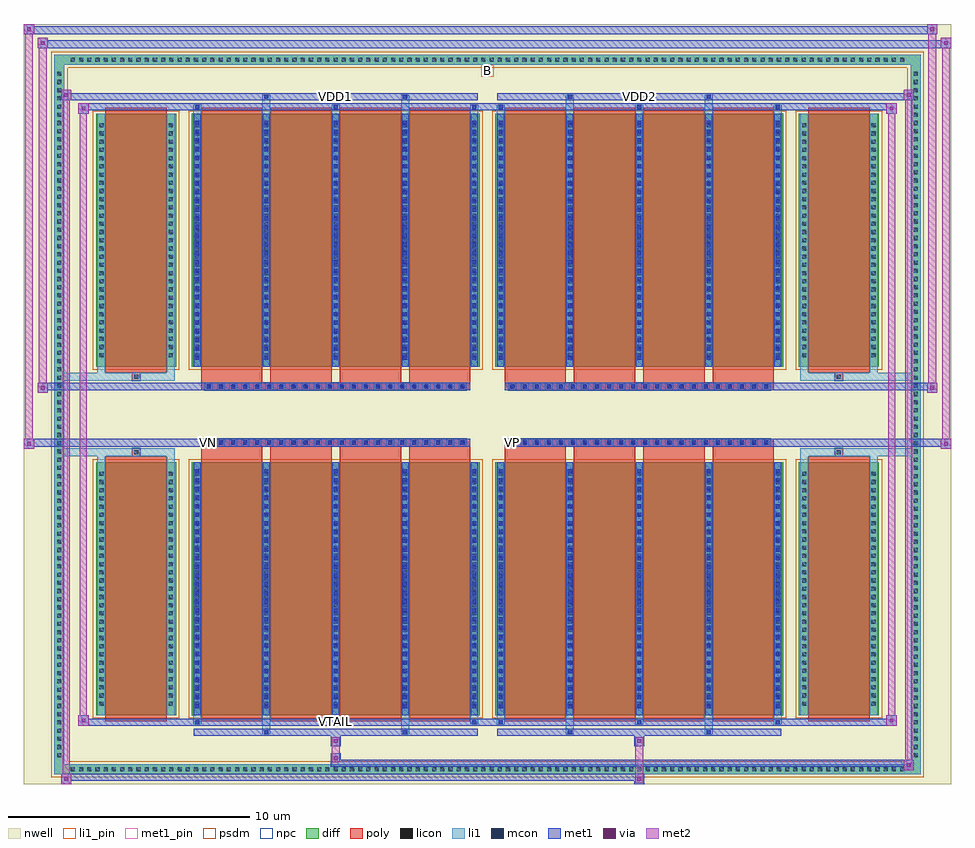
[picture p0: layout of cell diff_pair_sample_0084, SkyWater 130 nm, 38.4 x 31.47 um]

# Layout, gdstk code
import gdstk
lib = gdstk.Library(unit=1e-6, precision=5e-09)
def R(c, l, rs):  # rectangles x0, y0, x1, y1
    for r in rs: c.add(gdstk.rectangle(r[:2], r[2:], *l))
def A(c, l, x, y, w, h, nx, ny, dx, dy):  # array of equal rectangles
    R(c, l, [(x+i*dx, y+j*dy, x+i*dx+w, y+j*dy+h) for i in range(nx) for j in range(ny)])
def P(c, l, *ps):  # polygons
    for p in ps: c.add(gdstk.Polygon(p, *l))
nwell = (64, 20)
diff = (65, 20)
poly = (66, 20)
licon = (66, 44)
li1_pin = (67, 16)
li1 = (67, 20)
mcon = (67, 44)
met1_pin = (68, 16)
met1 = (68, 20)
via = (68, 44)
met2 = (69, 20)
psdm = (94, 20)
npc = (95, 20)

diff_pair_sample_0084 = lib.new_cell('diff_pair_sample_0084')
R(diff_pair_sample_0084, nwell, [(-19.2,-15.3,19.2,16.17), (-16.52,-13.49,-0.01,-0.795), (0.01,-13.49,16.52,-0.795), (-16.52,0.795,-0.01,13.49), (0.01,0.795,16.52,13.49)])
A(diff_pair_sample_0084, diff, -17.375, -14.9, 0.41, 0.41, 102, 2, 0.34, 29.39)
A(diff_pair_sample_0084, diff, -17.93, -14.315, 0.41, 0.41, 1, 84, 0, 0.34)
A(diff_pair_sample_0084, diff, 17.52, -14.315, 0.41, 0.41, 1, 84, 0, 0.34)
R(diff_pair_sample_0084, diff, [(-17.375,-14.9,17.375,-14.49), (-17.93,-14.315,-17.52,14.315), (17.52,-14.315,17.93,14.315), (-16.21,-12.445,-12.89,-1.985), (-12.25,-12.445,-0.32,-1.985), (0.32,-12.445,12.25,-1.985), (12.89,-12.445,16.21,-1.985), (-16.21,1.985,-12.89,12.445), (-12.25,1.985,-0.32,12.445), (0.32,1.985,12.25,12.445), (12.89,1.985,16.21,12.445), (-17.375,14.49,17.375,14.9)])
P(diff_pair_sample_0084, diff, [(17.93,14.9),(-17.93,14.9),(-17.93,-14.49),(-17.52,-14.49),(-17.52,14.49),(17.52,14.49),(17.52,-14.49),(-17.52,-14.49),(-17.93,-14.49),(-17.93,-14.9),(17.93,-14.9)])
A(diff_pair_sample_0084, poly, -11.86, -12.695, 2.54, 10.96, 4, 2, 2.87, 14.43)
A(diff_pair_sample_0084, poly, 0.71, -12.695, 2.54, 10.96, 4, 2, 2.87, 14.43)
A(diff_pair_sample_0084, poly, -11.86, -1.735, 2.54, 0.41, 4, 2, 2.87, 3.06)
A(diff_pair_sample_0084, poly, 0.71, -1.735, 2.54, 0.41, 4, 2, 2.87, 3.06)
A(diff_pair_sample_0084, poly, -11.7, -1.325, 0.33, 0.33, 22, 2, 0.5, 2.32)
A(diff_pair_sample_0084, poly, 0.87, -1.325, 0.33, 0.33, 22, 2, 0.5, 2.32)
R(diff_pair_sample_0084, poly, [(-15.82,-12.695,-13.28,-1.735), (13.28,-12.695,15.82,-1.735), (-14.715,-1.735,-14.385,-1.405), (-14.715,-1.735,-14.385,-1.405), (14.385,-1.735,14.715,-1.405), (14.385,-1.735,14.715,-1.405), (-11.86,-1.325,-0.71,-0.995), (0.71,-1.325,11.86,-0.995), (-11.86,0.995,-0.71,1.325), (0.71,0.995,11.86,1.325), (-14.715,1.405,-14.385,1.735), (-14.715,1.405,-14.385,1.735), (14.385,1.405,14.715,1.735), (14.385,1.405,14.715,1.735), (-15.82,1.735,-13.28,12.695), (13.28,1.735,15.82,12.695)])
A(diff_pair_sample_0084, licon, -17.255, -14.78, 0.17, 0.17, 102, 2, 0.34, 29.39)
A(diff_pair_sample_0084, licon, -17.81, -14.195, 0.17, 0.17, 1, 84, 0, 0.34)
A(diff_pair_sample_0084, licon, 17.64, -14.195, 0.17, 0.17, 1, 84, 0, 0.34)
A(diff_pair_sample_0084, licon, -16.07, -12.06, 0.17, 0.17, 1, 29, 0, 0.34)
A(diff_pair_sample_0084, licon, -13.2, -12.06, 0.17, 0.17, 1, 29, 0, 0.34)
A(diff_pair_sample_0084, licon, -12.11, -12.06, 0.17, 0.17, 5, 29, 2.87, 0.34)
A(diff_pair_sample_0084, licon, 0.46, -12.06, 0.17, 0.17, 5, 29, 2.87, 0.34)
A(diff_pair_sample_0084, licon, 13.03, -12.06, 0.17, 0.17, 1, 29, 0, 0.34)
A(diff_pair_sample_0084, licon, 15.9, -12.06, 0.17, 0.17, 1, 29, 0, 0.34)
A(diff_pair_sample_0084, licon, -11.62, -1.245, 0.17, 0.17, 22, 2, 0.5, 2.32)
A(diff_pair_sample_0084, licon, 0.95, -1.245, 0.17, 0.17, 22, 2, 0.5, 2.32)
A(diff_pair_sample_0084, licon, -16.07, 2.37, 0.17, 0.17, 1, 29, 0, 0.34)
A(diff_pair_sample_0084, licon, -13.2, 2.37, 0.17, 0.17, 1, 29, 0, 0.34)
A(diff_pair_sample_0084, licon, -12.11, 2.37, 0.17, 0.17, 5, 29, 2.87, 0.34)
A(diff_pair_sample_0084, licon, 0.46, 2.37, 0.17, 0.17, 5, 29, 2.87, 0.34)
A(diff_pair_sample_0084, licon, 13.03, 2.37, 0.17, 0.17, 1, 29, 0, 0.34)
A(diff_pair_sample_0084, licon, 15.9, 2.37, 0.17, 0.17, 1, 29, 0, 0.34)
R(diff_pair_sample_0084, licon, [(-14.635,-1.655,-14.465,-1.485), (14.465,-1.655,14.635,-1.485), (-14.635,1.485,-14.465,1.655), (14.465,1.485,14.635,1.655)])
R(diff_pair_sample_0084, li1_pin, [(-0.25,13.99,0.25,14.49)])
A(diff_pair_sample_0084, li1, -17.335, -14.86, 0.33, 0.33, 102, 2, 0.34, 29.39)
A(diff_pair_sample_0084, li1, -17.89, -14.275, 0.33, 0.33, 1, 84, 0, 0.34)
A(diff_pair_sample_0084, li1, 17.56, -14.275, 0.33, 0.33, 1, 84, 0, 0.34)
A(diff_pair_sample_0084, li1, -12.19, -12.82, 0.33, 0.375, 3, 2, 5.74, 25.265)
A(diff_pair_sample_0084, li1, -12.11, -12.82, 0.17, 0.17, 3, 2, 5.74, 25.47)
A(diff_pair_sample_0084, li1, 0.38, -12.82, 0.33, 0.375, 3, 2, 5.74, 25.265)
A(diff_pair_sample_0084, li1, 0.46, -12.82, 0.17, 0.17, 3, 2, 5.74, 25.47)
A(diff_pair_sample_0084, li1, -12.19, -12.445, 0.33, 10.46, 5, 2, 2.87, 14.43)
A(diff_pair_sample_0084, li1, 0.38, -12.445, 0.33, 10.46, 5, 2, 2.87, 14.43)
A(diff_pair_sample_0084, li1, -12.11, -12.16, 0.17, 0.17, 5, 28, 2.87, 0.36)
A(diff_pair_sample_0084, li1, -12.11, -12.16, 0.17, 9.89, 5, 2, 2.87, 14.43)
A(diff_pair_sample_0084, li1, 0.46, -12.16, 0.17, 0.17, 5, 28, 2.87, 0.36)
A(diff_pair_sample_0084, li1, 0.46, -12.16, 0.17, 9.89, 5, 2, 2.87, 14.43)
A(diff_pair_sample_0084, li1, -16.15, -12.14, 0.33, 0.33, 1, 29, 0, 0.34)
A(diff_pair_sample_0084, li1, -13.28, -12.14, 0.33, 0.33, 1, 29, 0, 0.34)
A(diff_pair_sample_0084, li1, -12.19, -12.14, 0.33, 0.33, 5, 29, 2.87, 0.34)
A(diff_pair_sample_0084, li1, 0.38, -12.14, 0.33, 0.33, 5, 29, 2.87, 0.34)
A(diff_pair_sample_0084, li1, 12.95, -12.14, 0.33, 0.33, 1, 29, 0, 0.34)
A(diff_pair_sample_0084, li1, 15.82, -12.14, 0.33, 0.33, 1, 29, 0, 0.34)
A(diff_pair_sample_0084, li1, -11.7, -1.325, 0.33, 0.33, 22, 2, 0.5, 2.32)
A(diff_pair_sample_0084, li1, 0.87, -1.325, 0.33, 0.33, 22, 2, 0.5, 2.32)
A(diff_pair_sample_0084, li1, -12.11, 2.27, 0.17, 0.17, 5, 28, 2.87, 0.36)
A(diff_pair_sample_0084, li1, 0.46, 2.27, 0.17, 0.17, 5, 28, 2.87, 0.36)
A(diff_pair_sample_0084, li1, -16.15, 2.29, 0.33, 0.33, 1, 29, 0, 0.34)
A(diff_pair_sample_0084, li1, -13.28, 2.29, 0.33, 0.33, 1, 29, 0, 0.34)
A(diff_pair_sample_0084, li1, -12.19, 2.29, 0.33, 0.33, 5, 29, 2.87, 0.34)
A(diff_pair_sample_0084, li1, 0.38, 2.29, 0.33, 0.33, 5, 29, 2.87, 0.34)
A(diff_pair_sample_0084, li1, 12.95, 2.29, 0.33, 0.33, 1, 29, 0, 0.34)
A(diff_pair_sample_0084, li1, 15.82, 2.29, 0.33, 0.33, 1, 29, 0, 0.34)
R(diff_pair_sample_0084, li1, [(-17.93,-14.9,-17.52,-14.49), (-17.93,-14.9,-17.52,-14.49), (-17.52,-14.9,17.52,-14.49), (17.52,-14.9,17.93,-14.49), (17.52,-14.9,17.93,-14.49), (-17.93,-14.49,-17.52,14.49), (17.52,-14.49,17.93,14.49), (-9.32,-13.25,-8.99,-12.445), (-9.24,-13.25,-9.07,-13.08), (-3.58,-13.25,-3.25,-12.445), (-3.5,-13.25,-3.33,-13.08), (3.25,-13.25,3.58,-12.445), (3.33,-13.25,3.5,-13.08), (8.99,-13.25,9.32,-12.445), (9.07,-13.25,9.24,-13.08), (-16.15,-12.445,-15.82,-1.985), (-13.28,-12.445,-12.95,-1.985), (12.95,-12.445,13.28,-1.985), (15.82,-12.445,16.15,-1.985), (-16.15,-1.985,-15.82,-1.405), (-13.28,-1.985,-12.95,-1.405), (12.95,-1.985,13.28,-1.405), (15.82,-1.985,16.15,-1.405), (-17.93,-1.735,-14.715,-1.405), (-16.15,-1.735,-14.715,-1.405), (-14.715,-1.735,-14.385,-1.405), (-14.385,-1.735,-12.95,-1.405), (12.95,-1.735,14.385,-1.405), (14.385,-1.735,14.715,-1.405), (14.385,-1.735,17.93,-1.405), (14.715,-1.735,16.15,-1.405), (-17.93,1.405,-14.715,1.735), (-16.15,1.405,-14.715,1.735), (-16.15,1.405,-15.82,1.985), (-14.715,1.405,-14.385,1.735), (-14.385,1.405,-12.95,1.735), (-13.28,1.405,-12.95,1.985), (12.95,1.405,14.385,1.735), (12.95,1.405,13.28,1.985), (14.385,1.405,14.715,1.735), (14.385,1.405,17.93,1.735), (14.715,1.405,16.15,1.735), (15.82,1.405,16.15,1.985), (-16.15,1.985,-15.82,12.445), (-13.28,1.985,-12.95,12.445), (12.95,1.985,13.28,12.445), (15.82,1.985,16.15,12.445), (-9.32,12.445,-8.99,13.25), (-3.58,12.445,-3.25,13.25), (3.25,12.445,3.58,13.25), (8.99,12.445,9.32,13.25), (-9.24,13.08,-9.07,13.25), (-3.5,13.08,-3.33,13.25), (3.33,13.08,3.5,13.25), (9.07,13.08,9.24,13.25), (-17.93,14.49,-17.52,14.9), (-17.93,14.49,-17.52,14.9), (-17.52,14.49,17.52,14.9), (17.52,14.49,17.93,14.9), (17.52,14.49,17.93,14.9)])
A(diff_pair_sample_0084, mcon, -12.11, -12.82, 0.17, 0.17, 3, 2, 5.74, 25.47)
A(diff_pair_sample_0084, mcon, 0.46, -12.82, 0.17, 0.17, 3, 2, 5.74, 25.47)
A(diff_pair_sample_0084, mcon, -12.11, -12.16, 0.17, 0.17, 5, 28, 2.87, 0.36)
A(diff_pair_sample_0084, mcon, 0.46, -12.16, 0.17, 0.17, 5, 28, 2.87, 0.36)
A(diff_pair_sample_0084, mcon, -11.62, -1.245, 0.17, 0.17, 22, 2, 0.5, 2.32)
A(diff_pair_sample_0084, mcon, 0.95, -1.245, 0.17, 0.17, 22, 2, 0.5, 2.32)
A(diff_pair_sample_0084, mcon, -12.11, 2.27, 0.17, 0.17, 5, 28, 2.87, 0.36)
A(diff_pair_sample_0084, mcon, 0.46, 2.27, 0.17, 0.17, 5, 28, 2.87, 0.36)
R(diff_pair_sample_0084, mcon, [(-9.24,-13.25,-9.07,-13.08), (-3.5,-13.25,-3.33,-13.08), (3.33,-13.25,3.5,-13.08), (9.07,-13.25,9.24,-13.08), (-9.24,13.08,-9.07,13.25), (-3.5,13.08,-3.33,13.25), (3.33,13.08,3.5,13.25), (9.07,13.08,9.24,13.25)])
R(diff_pair_sample_0084, met1_pin, [(-6.42,-12.86,-6.15,-12.59), (-11.67,-1.285,-11.4,-1.015), (0.9,-1.285,1.17,-1.015), (-6.42,13.04,-6.15,13.31), (6.15,13.04,6.42,13.31)])
A(diff_pair_sample_0084, met1, -12.17, -12.88, 0.29, 0.29, 3, 2, 5.74, 25.47)
A(diff_pair_sample_0084, met1, 0.4, -12.88, 0.29, 0.29, 3, 2, 5.74, 25.47)
A(diff_pair_sample_0084, met1, -12.17, -12.445, 0.29, 10.46, 5, 2, 2.87, 14.43)
A(diff_pair_sample_0084, met1, 0.4, -12.445, 0.29, 10.46, 5, 2, 2.87, 14.43)
A(diff_pair_sample_0084, met1, -12.17, -12.22, 0.29, 0.29, 5, 28, 2.87, 0.36)
A(diff_pair_sample_0084, met1, 0.4, -12.22, 0.29, 0.29, 5, 28, 2.87, 0.36)
A(diff_pair_sample_0084, met1, -11.68, -1.305, 0.29, 0.29, 22, 2, 0.5, 2.32)
A(diff_pair_sample_0084, met1, 0.89, -1.305, 0.29, 0.29, 22, 2, 0.5, 2.32)
A(diff_pair_sample_0084, met1, -12.17, 2.21, 0.29, 0.29, 5, 28, 2.87, 0.36)
A(diff_pair_sample_0084, met1, 0.4, 2.21, 0.29, 0.29, 5, 28, 2.87, 0.36)
R(diff_pair_sample_0084, met1, [(-17.66,-15.3,-17.23,-14.87), (6.07,-15.3,6.5,-14.87), (-17.66,-15.16,6.5,-14.87), (17.23,-14.73,17.66,-14.3), (-6.5,-14.59,17.66,-14.3), (-6.5,-14.45,-6.07,-14.02), (-6.5,-13.74,-6.07,-13.31), (6.07,-13.74,6.5,-13.31), (-12.17,-13.31,-0.4,-13.02), (-9.3,-13.31,-9.01,-13.02), (-3.56,-13.31,-3.27,-13.02), (0.4,-13.31,12.17,-13.02), (3.27,-13.31,3.56,-13.02), (9.01,-13.31,9.3,-13.02), (-16.95,-12.88,-16.52,-12.45), (-16.95,-12.88,-12.17,-12.59), (-12.17,-12.88,-0.4,-12.59), (-0.4,-12.88,0.4,-12.59), (0.4,-12.88,12.17,-12.59), (12.17,-12.88,16.95,-12.59), (16.52,-12.88,16.95,-12.45), (-19.2,-1.425,-18.77,-0.995), (18.77,-1.425,19.2,-0.995), (-19.2,-1.325,-0.71,-0.995), (-11.86,-1.325,-0.71,-0.995), (0.71,-1.325,11.86,-0.995), (0.71,-1.325,19.2,-0.995), (-18.63,0.895,-18.2,1.325), (18.2,0.895,18.63,1.325), (-18.63,0.995,-11.86,1.325), (-11.86,0.995,-0.71,1.325), (0.71,0.995,11.86,1.325), (11.86,0.995,18.63,1.325), (-16.95,12.45,-16.52,12.88), (16.52,12.45,16.95,12.88), (-16.95,12.59,-12.17,12.88), (-12.17,12.59,-0.4,12.88), (-0.4,12.59,0.4,12.88), (0.4,12.59,12.17,12.88), (12.17,12.59,16.95,12.88), (-17.66,13.02,-17.23,13.45), (-17.66,13.02,-12.17,13.31), (-12.17,13.02,-0.4,13.31), (-9.3,13.02,-9.01,13.31), (-3.56,13.02,-3.27,13.31), (0.4,13.02,12.17,13.31), (3.27,13.02,3.56,13.31), (9.01,13.02,9.3,13.31), (12.17,13.02,17.66,13.31), (17.23,13.02,17.66,13.45), (-18.63,15.17,-18.2,15.6), (-18.63,15.17,-16.52,15.5), (-16.52,15.17,16.52,15.5), (16.52,15.17,19.2,15.5), (18.77,15.17,19.2,15.6), (-19.2,15.74,-18.77,16.17), (-19.2,15.74,-16.52,16.07), (-16.52,15.74,16.52,16.07), (16.52,15.74,18.63,16.07), (18.2,15.74,18.63,16.17)])
R(diff_pair_sample_0084, via, [(-17.52,-15.16,-17.37,-15.01), (6.21,-15.16,6.36,-15.01), (17.37,-14.59,17.52,-14.44), (-6.36,-14.31,-6.21,-14.16), (-6.36,-13.6,-6.21,-13.45), (6.21,-13.6,6.36,-13.45), (-16.81,-12.74,-16.66,-12.59), (16.66,-12.74,16.81,-12.59), (-19.06,-1.285,-18.91,-1.135), (18.91,-1.285,19.06,-1.135), (-18.49,1.035,-18.34,1.185), (18.34,1.035,18.49,1.185), (-16.81,12.59,-16.66,12.74), (16.66,12.59,16.81,12.74), (-17.52,13.16,-17.37,13.31), (17.37,13.16,17.52,13.31), (-18.49,15.31,-18.34,15.46), (18.91,15.31,19.06,15.46), (-19.06,15.88,-18.91,16.03), (18.34,15.88,18.49,16.03)])
R(diff_pair_sample_0084, met2, [(-17.66,-15.3,-17.23,-14.87), (-17.59,-15.3,-17.3,13.45), (-17.3,-15.3,-17.23,-14.87), (-17.61,-15.25,-17.28,-14.92), (6.12,-15.25,6.45,-14.92), (6.12,-14.92,6.45,-13.69), (17.23,-14.73,17.66,-14.3), (17.3,-14.73,17.59,13.45), (17.59,-14.73,17.66,-14.3), (17.28,-14.68,17.61,-14.35), (-6.45,-14.4,-6.12,-14.07), (-6.45,-14.07,-6.12,-13.69), (-6.45,-13.69,-6.12,-13.36), (6.12,-13.69,6.45,-13.36), (-16.95,-12.88,-16.52,-12.45), (-16.88,-12.88,-16.59,12.88), (-16.59,-12.88,-16.52,-12.45), (16.52,-12.88,16.95,-12.45), (16.59,-12.88,16.88,12.88), (16.88,-12.88,16.95,-12.45), (-16.9,-12.83,-16.57,-12.5), (16.57,-12.83,16.9,-12.5), (-19.2,-1.425,-18.77,-0.995), (-19.15,-1.425,-18.82,16.17), (-18.82,-1.425,-18.77,-0.995), (18.77,-1.425,19.2,-0.995), (18.82,-1.425,19.15,15.6), (19.15,-1.425,19.2,-0.995), (-19.15,-1.375,-18.82,-1.045), (18.82,-1.375,19.15,-1.045), (-18.63,0.895,-18.2,1.325), (-18.58,0.895,-18.25,15.6), (-18.25,0.895,-18.2,1.325), (18.2,0.895,18.63,1.325), (18.25,0.895,18.58,16.17), (18.58,0.895,18.63,1.325), (-18.58,0.945,-18.25,1.275), (18.25,0.945,18.58,1.275), (-16.95,12.45,-16.52,12.88), (-16.59,12.45,-16.52,12.88), (16.52,12.45,16.95,12.88), (16.88,12.45,16.95,12.88), (-16.9,12.5,-16.57,12.83), (16.57,12.5,16.9,12.83), (-17.66,13.02,-17.23,13.45), (-17.3,13.02,-17.23,13.45), (17.23,13.02,17.66,13.45), (17.59,13.02,17.66,13.45), (-17.61,13.07,-17.28,13.4), (17.28,13.07,17.61,13.4), (-18.63,15.17,-18.2,15.6), (-18.25,15.17,-18.2,15.6), (18.77,15.17,19.2,15.6), (19.15,15.17,19.2,15.6), (-18.58,15.22,-18.25,15.55), (18.82,15.22,19.15,15.55), (-19.2,15.74,-18.77,16.17), (-18.82,15.74,-18.77,16.17), (18.2,15.74,18.63,16.17), (18.58,15.74,18.63,16.17), (-19.15,15.79,-18.82,16.12), (18.25,15.79,18.58,16.12)])
R(diff_pair_sample_0084, psdm, [(-16.34,-12.575,-12.76,-1.855), (-12.38,-12.575,-0.19,-1.855), (0.19,-12.575,12.38,-1.855), (12.76,-12.575,16.34,-1.855), (-16.34,1.855,-12.76,12.575), (-12.38,1.855,-0.19,12.575), (0.19,1.855,12.38,12.575), (12.76,1.855,16.34,12.575)])
P(diff_pair_sample_0084, psdm, [(18.06,15.03),(-18.06,15.03),(-18.06,-14.36),(-17.39,-14.36),(-17.39,14.36),(17.39,14.36),(17.39,-14.36),(-17.39,-14.36),(-18.06,-14.36),(-18.06,-15.03),(18.06,-15.03)])
A(diff_pair_sample_0084, npc, -11.72, -1.345, 0.37, 0.37, 22, 2, 0.5, 2.32)
A(diff_pair_sample_0084, npc, 0.85, -1.345, 0.37, 0.37, 22, 2, 0.5, 2.32)
R(diff_pair_sample_0084, npc, [(-14.735,-1.755,-14.365,-1.385), (14.365,-1.755,14.735,-1.385), (-11.72,-1.345,-10.85,-0.975), (-11.72,-1.345,-10.85,-0.975), (-11.22,-1.345,-10.35,-0.975), (-11.22,-1.345,-10.35,-0.975), (-10.72,-1.345,-9.85,-0.975), (-10.72,-1.345,-9.85,-0.975), (-10.22,-1.345,-9.35,-0.975), (-10.22,-1.345,-9.35,-0.975), (-9.72,-1.345,-8.85,-0.975), (-9.72,-1.345,-8.85,-0.975), (-9.22,-1.345,-8.35,-0.975), (-9.22,-1.345,-8.35,-0.975), (-8.72,-1.345,-7.85,-0.975), (-8.72,-1.345,-7.85,-0.975), (-8.22,-1.345,-7.35,-0.975), (-8.22,-1.345,-7.35,-0.975), (-7.72,-1.345,-6.85,-0.975), (-7.72,-1.345,-6.85,-0.975), (-7.22,-1.345,-6.35,-0.975), (-7.22,-1.345,-6.35,-0.975), (-6.72,-1.345,-5.85,-0.975), (-6.72,-1.345,-5.85,-0.975), (-6.22,-1.345,-5.35,-0.975), (-6.22,-1.345,-5.35,-0.975), (-5.72,-1.345,-4.85,-0.975), (-5.72,-1.345,-4.85,-0.975), (-5.22,-1.345,-4.35,-0.975), (-5.22,-1.345,-4.35,-0.975), (-4.72,-1.345,-3.85,-0.975), (-4.72,-1.345,-3.85,-0.975), (-4.22,-1.345,-3.35,-0.975), (-4.22,-1.345,-3.35,-0.975), (-3.72,-1.345,-2.85,-0.975), (-3.72,-1.345,-2.85,-0.975), (-3.22,-1.345,-2.35,-0.975), (-3.22,-1.345,-2.35,-0.975), (-2.72,-1.345,-1.85,-0.975), (-2.72,-1.345,-1.85,-0.975), (-2.22,-1.345,-1.35,-0.975), (-2.22,-1.345,-1.35,-0.975), (-1.72,-1.345,-0.85,-0.975), (-1.72,-1.345,-0.85,-0.975), (0.85,-1.345,1.72,-0.975), (0.85,-1.345,1.72,-0.975), (1.35,-1.345,2.22,-0.975), (1.35,-1.345,2.22,-0.975), (1.85,-1.345,2.72,-0.975), (1.85,-1.345,2.72,-0.975), (2.35,-1.345,3.22,-0.975), (2.35,-1.345,3.22,-0.975), (2.85,-1.345,3.72,-0.975), (2.85,-1.345,3.72,-0.975), (3.35,-1.345,4.22,-0.975), (3.35,-1.345,4.22,-0.975), (3.85,-1.345,4.72,-0.975), (3.85,-1.345,4.72,-0.975), (4.35,-1.345,5.22,-0.975), (4.35,-1.345,5.22,-0.975), (4.85,-1.345,5.72,-0.975), (4.85,-1.345,5.72,-0.975), (5.35,-1.345,6.22,-0.975), (5.35,-1.345,6.22,-0.975), (5.85,-1.345,6.72,-0.975), (5.85,-1.345,6.72,-0.975), (6.35,-1.345,7.22,-0.975), (6.35,-1.345,7.22,-0.975), (6.85,-1.345,7.72,-0.975), (6.85,-1.345,7.72,-0.975), (7.35,-1.345,8.22,-0.975), (7.35,-1.345,8.22,-0.975), (7.85,-1.345,8.72,-0.975), (7.85,-1.345,8.72,-0.975), (8.35,-1.345,9.22,-0.975), (8.35,-1.345,9.22,-0.975), (8.85,-1.345,9.72,-0.975), (8.85,-1.345,9.72,-0.975), (9.35,-1.345,10.22,-0.975), (9.35,-1.345,10.22,-0.975), (9.85,-1.345,10.72,-0.975), (9.85,-1.345,10.72,-0.975), (10.35,-1.345,11.22,-0.975), (10.35,-1.345,11.22,-0.975), (10.85,-1.345,11.72,-0.975), (10.85,-1.345,11.72,-0.975), (-11.72,0.975,-10.85,1.345), (-11.72,0.975,-10.85,1.345), (-11.22,0.975,-10.35,1.345), (-11.22,0.975,-10.35,1.345), (-10.72,0.975,-9.85,1.345), (-10.72,0.975,-9.85,1.345), (-10.22,0.975,-9.35,1.345), (-10.22,0.975,-9.35,1.345), (-9.72,0.975,-8.85,1.345), (-9.72,0.975,-8.85,1.345), (-9.22,0.975,-8.35,1.345), (-9.22,0.975,-8.35,1.345), (-8.72,0.975,-7.85,1.345), (-8.72,0.975,-7.85,1.345), (-8.22,0.975,-7.35,1.345), (-8.22,0.975,-7.35,1.345), (-7.72,0.975,-6.85,1.345), (-7.72,0.975,-6.85,1.345), (-7.22,0.975,-6.35,1.345), (-7.22,0.975,-6.35,1.345), (-6.72,0.975,-5.85,1.345), (-6.72,0.975,-5.85,1.345), (-6.22,0.975,-5.35,1.345), (-6.22,0.975,-5.35,1.345), (-5.72,0.975,-4.85,1.345), (-5.72,0.975,-4.85,1.345), (-5.22,0.975,-4.35,1.345), (-5.22,0.975,-4.35,1.345), (-4.72,0.975,-3.85,1.345), (-4.72,0.975,-3.85,1.345), (-4.22,0.975,-3.35,1.345), (-4.22,0.975,-3.35,1.345), (-3.72,0.975,-2.85,1.345), (-3.72,0.975,-2.85,1.345), (-3.22,0.975,-2.35,1.345), (-3.22,0.975,-2.35,1.345), (-2.72,0.975,-1.85,1.345), (-2.72,0.975,-1.85,1.345), (-2.22,0.975,-1.35,1.345), (-2.22,0.975,-1.35,1.345), (-1.72,0.975,-0.85,1.345), (-1.72,0.975,-0.85,1.345), (0.85,0.975,1.72,1.345), (0.85,0.975,1.72,1.345), (1.35,0.975,2.22,1.345), (1.35,0.975,2.22,1.345), (1.85,0.975,2.72,1.345), (1.85,0.975,2.72,1.345), (2.35,0.975,3.22,1.345), (2.35,0.975,3.22,1.345), (2.85,0.975,3.72,1.345), (2.85,0.975,3.72,1.345), (3.35,0.975,4.22,1.345), (3.35,0.975,4.22,1.345), (3.85,0.975,4.72,1.345), (3.85,0.975,4.72,1.345), (4.35,0.975,5.22,1.345), (4.35,0.975,5.22,1.345), (4.85,0.975,5.72,1.345), (4.85,0.975,5.72,1.345), (5.35,0.975,6.22,1.345), (5.35,0.975,6.22,1.345), (5.85,0.975,6.72,1.345), (5.85,0.975,6.72,1.345), (6.35,0.975,7.22,1.345), (6.35,0.975,7.22,1.345), (6.85,0.975,7.72,1.345), (6.85,0.975,7.72,1.345), (7.35,0.975,8.22,1.345), (7.35,0.975,8.22,1.345), (7.85,0.975,8.72,1.345), (7.85,0.975,8.72,1.345), (8.35,0.975,9.22,1.345), (8.35,0.975,9.22,1.345), (8.85,0.975,9.72,1.345), (8.85,0.975,9.72,1.345), (9.35,0.975,10.22,1.345), (9.35,0.975,10.22,1.345), (9.85,0.975,10.72,1.345), (9.85,0.975,10.72,1.345), (10.35,0.975,11.22,1.345), (10.35,0.975,11.22,1.345), (10.85,0.975,11.72,1.345), (10.85,0.975,11.72,1.345), (-14.735,1.385,-14.365,1.755), (14.365,1.385,14.735,1.755)])
diff_pair_sample_0084.add(gdstk.Label('VTAIL', (-6.285,-12.725), layer=68, texttype=5))
diff_pair_sample_0084.add(gdstk.Label('VN', (-11.535,-1.15), layer=68, texttype=5))
diff_pair_sample_0084.add(gdstk.Label('VP', (1.035,-1.15), layer=68, texttype=5))
diff_pair_sample_0084.add(gdstk.Label('B', (0,14.24), layer=67, texttype=5))
diff_pair_sample_0084.add(gdstk.Label('VDD2', (6.285,13.175), layer=68, texttype=5))
diff_pair_sample_0084.add(gdstk.Label('VDD1', (-6.285,13.175), layer=68, texttype=5))

lib.write_gds('diff_pair_sample_0084.gds')
